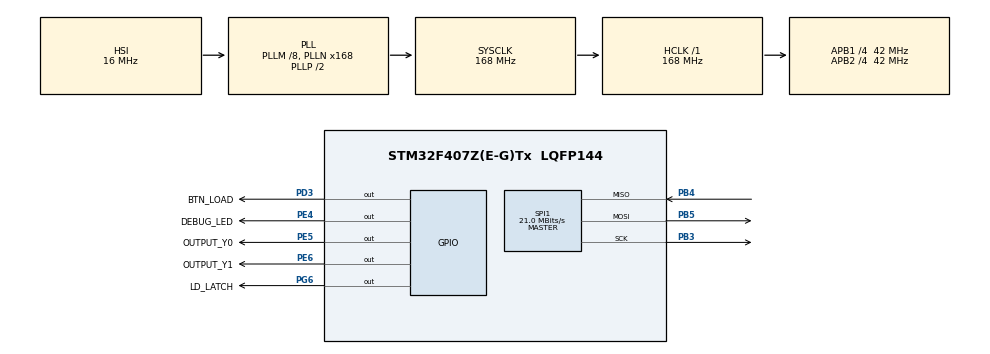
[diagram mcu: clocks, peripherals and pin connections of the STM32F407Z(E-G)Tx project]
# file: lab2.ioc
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Mcu.Family=STM32F4
Mcu.Name=STM32F407Z(E-G)Tx
Mcu.Package=LQFP144
NVIC.PriorityGroup=NVIC_PRIORITYGROUP_4
NVIC.TIM2_IRQn=true\:0\:0\:false\:false\:true\:true\:true
PA13.Mode=Serial_Wire
PA13.Signal=SYS_JTMS-SWDIO
PA14.Mode=Serial_Wire
PA14.Signal=SYS_JTCK-SWCLK
PB3.Mode=Full_Duplex_Master
PB3.Signal=SPI1_SCK
PB4.Mode=Full_Duplex_Master
PB4.Signal=SPI1_MISO
PB5.Mode=Full_Duplex_Master
PB5.Signal=SPI1_MOSI
PD3.GPIO_Label=BTN_LOAD
PD3.Signal=GPIO_Output
PE4.GPIO_Label=DEBUG_LED
PE4.Signal=GPIO_Output
PE5.GPIO_Label=OUTPUT_Y0
PE5.Signal=GPIO_Output
PE6.GPIO_Label=OUTPUT_Y1
PE6.Signal=GPIO_Output
PG6.GPIO_Label=LD_LATCH
PG6.Signal=GPIO_Output
PH0-OSC_IN.Mode=HSE-External-Oscillator
PH0-OSC_IN.Signal=RCC_OSC_IN
PH1-OSC_OUT.Mode=HSE-External-Oscillator
PH1-OSC_OUT.Signal=RCC_OSC_OUT
ProjectManager.HeapSize=0x200
ProjectManager.StackSize=0x400
ProjectManager.TargetToolchain=STM32CubeIDE
RCC.48MHZClocksFreq_Value=84000000
RCC.AHBFreq_Value=168000000
RCC.APB1CLKDivider=RCC_HCLK_DIV4
RCC.APB1Freq_Value=42000000
RCC.APB1TimFreq_Value=84000000
RCC.APB2CLKDivider=RCC_HCLK_DIV4
RCC.APB2Freq_Value=42000000
RCC.APB2TimFreq_Value=84000000
RCC.CortexFreq_Value=168000000
RCC.HCLKFreq_Value=168000000
RCC.HSE_VALUE=8000000
RCC.HSI_VALUE=16000000
RCC.LSE_VALUE=32768
RCC.PLLM=8
RCC.PLLN=168
RCC.SYSCLKFreq_VALUE=168000000
RCC.SYSCLKSource=RCC_SYSCLKSOURCE_PLLCLK
RCC.VCOOutputFreq_Value=336000000
SPI1.CalculateBaudRate=21.0 MBits/s
SPI1.Direction=SPI_DIRECTION_2LINES
SPI1.Mode=SPI_MODE_MASTER
SPI1.VirtualType=VM_MASTER
TIM2.Period=100-1
TIM2.Prescaler=840-1
VP_TIM2_VS_ClockSourceINT.Mode=Internal
board=custom

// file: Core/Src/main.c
/* USER CODE BEGIN Header */
/**
  ******************************************************************************
  * @file           : main.c
  * @brief          : Main program body
  ******************************************************************************
  * @attention
  *
  * <h2><center>&copy; Copyright (c) 2024 STMicroelectronics.
  * All rights reserved.</center></h2>
  *
  * This software component is licensed by ST under BSD 3-Clause license,
  * the "License"; You may not use this file except in compliance with the
  * License. You may obtain a copy of the License at:
  *                        opensource.org/licenses/BSD-3-Clause
  *
  ******************************************************************************
  */
/* USER CODE END Header */
#include "main.h"

/* USER CODE BEGIN Includes */
#include "software_timer.h"
/* USER CODE END Includes */

/* USER CODE BEGIN PD */
// #define exercise_1    100
// #define exercise_2    200
#define exercise_3    300

#define LED_ON        20
#define LED_OFF       30

#define RED           0
#define GREEN         1
#define YELLOW        2
#define RED_TIMER     5000
#define GREEN_TIMER   3000
#define YELLOW_TIMER  1000

#define _1_HZ         1
#define _25_HZ        11
#define _100_HZ       111
/* USER CODE END PD */

SPI_HandleTypeDef hspi1;

TIM_HandleTypeDef htim2;

void SystemClock_Config(void);
static void MX_GPIO_Init(void);
static void MX_SPI1_Init(void);
static void MX_TIM2_Init(void);

/* USER CODE BEGIN 0 */

void system_init() {
  HAL_GPIO_WritePin(LD_LATCH_GPIO_Port, LD_LATCH_Pin, GPIO_PIN_RESET);
  HAL_GPIO_WritePin(BTN_LOAD_GPIO_Port, BTN_LOAD_Pin, GPIO_PIN_RESET);

#ifdef exercise_1
  HAL_GPIO_WritePin(OUTPUT_Y0_GPIO_Port, OUTPUT_Y0_Pin, GPIO_PIN_RESET);
  HAL_GPIO_WritePin(OUTPUT_Y1_GPIO_Port, OUTPUT_Y1_Pin, GPIO_PIN_RESET);
  HAL_GPIO_WritePin(DEBUG_LED_GPIO_Port, DEBUG_LED_Pin, GPIO_PIN_RESET);
  setTimer0(50);
  setTimer1(50);
  setTimer2(50);
#endif

#ifdef exercise_2
  HAL_GPIO_WritePin(OUTPUT_Y0_GPIO_Port, OUTPUT_Y0_Pin, GPIO_PIN_RESET);
  HAL_GPIO_WritePin(OUTPUT_Y1_GPIO_Port, OUTPUT_Y1_Pin, GPIO_PIN_RESET);
  HAL_GPIO_WritePin(DEBUG_LED_GPIO_Port, DEBUG_LED_Pin, GPIO_PIN_SET);
  setTimer0(5000);
#endif

#ifdef exercise_3
  HAL_GPIO_WritePin(OUTPUT_Y0_GPIO_Port, OUTPUT_Y0_Pin, GPIO_PIN_RESET);
  HAL_GPIO_WritePin(OUTPUT_Y1_GPIO_Port, OUTPUT_Y1_Pin, GPIO_PIN_RESET);
  HAL_GPIO_WritePin(DEBUG_LED_GPIO_Port, DEBUG_LED_Pin, GPIO_PIN_RESET);
  setTimer0(50);
#endif
}

int LED_Y0_MODE = LED_OFF;
int LED_Y1_MODE = LED_OFF;

void ex1() {
  if (timer0_flag) {
     HAL_GPIO_TogglePin(DEBUG_LED_GPIO_Port, DEBUG_LED_Pin);
     setTimer0(2000);
  }

  if (timer1_flag) {
    if (LED_Y0_MODE == LED_ON) {
      HAL_GPIO_WritePin(OUTPUT_Y0_GPIO_Port, OUTPUT_Y0_Pin, GPIO_PIN_RESET);
      LED_Y0_MODE = LED_OFF;
      setTimer1(4000);
    } else if (LED_Y0_MODE == LED_OFF) {
      HAL_GPIO_WritePin(OUTPUT_Y0_GPIO_Port, OUTPUT_Y0_Pin, GPIO_PIN_SET);
      LED_Y0_MODE = LED_ON;
      setTimer1(2000);
    }
  }

  if (timer2_flag) {
    if (LED_Y1_MODE == LED_ON) {
      HAL_GPIO_WritePin(OUTPUT_Y1_GPIO_Port, OUTPUT_Y1_Pin, GPIO_PIN_RESET);
      LED_Y1_MODE = LED_OFF;
      setTimer2(1000);
    } else if (LED_Y1_MODE == LED_OFF) {
      HAL_GPIO_WritePin(OUTPUT_Y1_GPIO_Port, OUTPUT_Y1_Pin, GPIO_PIN_SET);
      LED_Y1_MODE = LED_ON;
      setTimer2(5000);
    }
  }
}

int traffic_mode = RED;

void ex2() {
  switch (traffic_mode) {
    case RED:
      HAL_GPIO_WritePin(OUTPUT_Y0_GPIO_Port, OUTPUT_Y0_Pin, GPIO_PIN_RESET);
      HAL_GPIO_WritePin(OUTPUT_Y1_GPIO_Port, OUTPUT_Y1_Pin, GPIO_PIN_RESET);
      HAL_GPIO_WritePin(DEBUG_LED_GPIO_Port, DEBUG_LED_Pin, GPIO_PIN_SET);

      if (timer0_flag) {
        traffic_mode = GREEN;
        setTimer0(GREEN_TIMER);
      }
      break;

    case GREEN:
      HAL_GPIO_WritePin(OUTPUT_Y0_GPIO_Port, OUTPUT_Y0_Pin, GPIO_PIN_SET);
      HAL_GPIO_WritePin(OUTPUT_Y1_GPIO_Port, OUTPUT_Y1_Pin, GPIO_PIN_RESET);
      HAL_GPIO_WritePin(DEBUG_LED_GPIO_Port, DEBUG_LED_Pin, GPIO_PIN_RESET);

      if (timer0_flag) {
        traffic_mode = YELLOW;
        setTimer0(YELLOW_TIMER);
      }
      break;

    case YELLOW:
      HAL_GPIO_WritePin(OUTPUT_Y0_GPIO_Port, OUTPUT_Y0_Pin, GPIO_PIN_RESET);
      HAL_GPIO_WritePin(OUTPUT_Y1_GPIO_Port, OUTPUT_Y1_Pin, GPIO_PIN_SET);
      HAL_GPIO_WritePin(DEBUG_LED_GPIO_Port, DEBUG_LED_Pin, GPIO_PIN_RESET);

      if (timer0_flag) {
        traffic_mode = RED;
        setTimer0(RED_TIMER);
      }
      break;
  }
}

void ex3() {
  int mode = _25_HZ;

  if (mode == _1_HZ) {
    if (timer0_flag) {
      HAL_GPIO_TogglePin(DEBUG_LED_GPIO_Port, DEBUG_LED_Pin);
      setTimer0(1000);
    }
  } else if (mode == _25_HZ) {
    if (timer0_flag) {
      HAL_GPIO_TogglePin(DEBUG_LED_GPIO_Port, DEBUG_LED_Pin);
      setTimer0(40);
    }
  } else if (mode == _100_HZ) {
    if (timer0_flag) {
      HAL_GPIO_TogglePin(DEBUG_LED_GPIO_Port, DEBUG_LED_Pin);
      setTimer0(10);
    }
  }
}
/* USER CODE END 0 */

int main(void)
{

  /* MCU Configuration--------------------------------------------------------*/

  /* Reset of all peripherals, Initializes the Flash interface and the Systick. */
  HAL_Init();

  /* Configure the system clock */
  SystemClock_Config();

  /* Initialize all configured peripherals */
  MX_GPIO_Init();
  MX_SPI1_Init();
  MX_TIM2_Init();
  /* USER CODE BEGIN 2 */
  HAL_TIM_Base_Start_IT(&htim2);

  /* USER CODE END 2 */

  /* Infinite loop */
  /* USER CODE BEGIN WHILE */
  system_init();
  while (1)
  {
    /* USER CODE END WHILE */

    /* USER CODE BEGIN 3 */
  #ifdef exercise_1
    ex1();
  #endif

  #ifdef exercise_2
    ex2();
  #endif

  #ifdef exercise_3
    ex3();
  #endif
  }
  /* USER CODE END 3 */
}

void SystemClock_Config(void)
{
  RCC_OscInitTypeDef RCC_OscInitStruct = {0};
  RCC_ClkInitTypeDef RCC_ClkInitStruct = {0};

  /** Configure the main internal regulator output voltage
  */
  __HAL_RCC_PWR_CLK_ENABLE();
  __HAL_PWR_VOLTAGESCALING_CONFIG(PWR_REGULATOR_VOLTAGE_SCALE1);
  /** Initializes the RCC Oscillators according to the specified parameters
  * in the RCC_OscInitTypeDef structure.
  */
  RCC_OscInitStruct.OscillatorType = RCC_OSCILLATORTYPE_HSI;
  RCC_OscInitStruct.HSIState = RCC_HSI_ON;
  RCC_OscInitStruct.HSICalibrationValue = RCC_HSICALIBRATION_DEFAULT;
  RCC_OscInitStruct.PLL.PLLState = RCC_PLL_ON;
  RCC_OscInitStruct.PLL.PLLSource = RCC_PLLSOURCE_HSI;
  RCC_OscInitStruct.PLL.PLLM = 8;
  RCC_OscInitStruct.PLL.PLLN = 168;
  RCC_OscInitStruct.PLL.PLLP = RCC_PLLP_DIV2;
  RCC_OscInitStruct.PLL.PLLQ = 4;
  if (HAL_RCC_OscConfig(&RCC_OscInitStruct) != HAL_OK)
  {
    Error_Handler();
  }
  /** Initializes the CPU, AHB and APB buses clocks
  */
  RCC_ClkInitStruct.ClockType = RCC_CLOCKTYPE_HCLK|RCC_CLOCKTYPE_SYSCLK
                              |RCC_CLOCKTYPE_PCLK1|RCC_CLOCKTYPE_PCLK2;
  RCC_ClkInitStruct.SYSCLKSource = RCC_SYSCLKSOURCE_PLLCLK;
  RCC_ClkInitStruct.AHBCLKDivider = RCC_SYSCLK_DIV1;
  RCC_ClkInitStruct.APB1CLKDivider = RCC_HCLK_DIV4;
  RCC_ClkInitStruct.APB2CLKDivider = RCC_HCLK_DIV4;

  if (HAL_RCC_ClockConfig(&RCC_ClkInitStruct, FLASH_LATENCY_5) != HAL_OK)
  {
    Error_Handler();
  }
}

static void MX_SPI1_Init(void)
{

  /* SPI1 parameter configuration*/
  hspi1.Instance = SPI1;
  hspi1.Init.Mode = SPI_MODE_MASTER;
  hspi1.Init.Direction = SPI_DIRECTION_2LINES;
  hspi1.Init.DataSize = SPI_DATASIZE_8BIT;
  hspi1.Init.CLKPolarity = SPI_POLARITY_LOW;
  hspi1.Init.CLKPhase = SPI_PHASE_1EDGE;
  hspi1.Init.NSS = SPI_NSS_SOFT;
  hspi1.Init.BaudRatePrescaler = SPI_BAUDRATEPRESCALER_2;
  hspi1.Init.FirstBit = SPI_FIRSTBIT_MSB;
  hspi1.Init.TIMode = SPI_TIMODE_DISABLE;
  hspi1.Init.CRCCalculation = SPI_CRCCALCULATION_DISABLE;
  hspi1.Init.CRCPolynomial = 10;
  if (HAL_SPI_Init(&hspi1) != HAL_OK)
  {
    Error_Handler();
  }

}

static void MX_TIM2_Init(void)
{

  TIM_ClockConfigTypeDef sClockSourceConfig = {0};
  TIM_MasterConfigTypeDef sMasterConfig = {0};

  htim2.Instance = TIM2;
  htim2.Init.Prescaler = 840-1;
  htim2.Init.CounterMode = TIM_COUNTERMODE_UP;
  htim2.Init.Period = 100-1;
  htim2.Init.ClockDivision = TIM_CLOCKDIVISION_DIV1;
  htim2.Init.AutoReloadPreload = TIM_AUTORELOAD_PRELOAD_DISABLE;
  if (HAL_TIM_Base_Init(&htim2) != HAL_OK)
  {
    Error_Handler();
  }
  sClockSourceConfig.ClockSource = TIM_CLOCKSOURCE_INTERNAL;
  if (HAL_TIM_ConfigClockSource(&htim2, &sClockSourceConfig) != HAL_OK)
  {
    Error_Handler();
  }
  sMasterConfig.MasterOutputTrigger = TIM_TRGO_RESET;
  sMasterConfig.MasterSlaveMode = TIM_MASTERSLAVEMODE_DISABLE;
  if (HAL_TIMEx_MasterConfigSynchronization(&htim2, &sMasterConfig) != HAL_OK)
  {
    Error_Handler();
  }

}

static void MX_GPIO_Init(void)
{
  GPIO_InitTypeDef GPIO_InitStruct = {0};

  /* GPIO Ports Clock Enable */
  __HAL_RCC_GPIOE_CLK_ENABLE();
  __HAL_RCC_GPIOH_CLK_ENABLE();
  __HAL_RCC_GPIOG_CLK_ENABLE();
  __HAL_RCC_GPIOA_CLK_ENABLE();
  __HAL_RCC_GPIOD_CLK_ENABLE();
  __HAL_RCC_GPIOB_CLK_ENABLE();

  /*Configure GPIO pin Output Level */
  HAL_GPIO_WritePin(GPIOE, DEBUG_LED_Pin|OUTPUT_Y0_Pin|OUTPUT_Y1_Pin, GPIO_PIN_SET);

  /*Configure GPIO pin Output Level */
  HAL_GPIO_WritePin(LD_LATCH_GPIO_Port, LD_LATCH_Pin, GPIO_PIN_SET);

  /*Configure GPIO pin Output Level */
  HAL_GPIO_WritePin(BTN_LOAD_GPIO_Port, BTN_LOAD_Pin, GPIO_PIN_SET);

  /*Configure GPIO pins : DEBUG_LED_Pin OUTPUT_Y0_Pin OUTPUT_Y1_Pin */
  GPIO_InitStruct.Pin = DEBUG_LED_Pin|OUTPUT_Y0_Pin|OUTPUT_Y1_Pin;
  GPIO_InitStruct.Mode = GPIO_MODE_OUTPUT_PP;
  GPIO_InitStruct.Pull = GPIO_NOPULL;
  GPIO_InitStruct.Speed = GPIO_SPEED_FREQ_LOW;
  HAL_GPIO_Init(GPIOE, &GPIO_InitStruct);

  /*Configure GPIO pin : LD_LATCH_Pin */
  GPIO_InitStruct.Pin = LD_LATCH_Pin;
  GPIO_InitStruct.Mode = GPIO_MODE_OUTPUT_PP;
  GPIO_InitStruct.Pull = GPIO_NOPULL;
  GPIO_InitStruct.Speed = GPIO_SPEED_FREQ_LOW;
  HAL_GPIO_Init(LD_LATCH_GPIO_Port, &GPIO_InitStruct);

  /*Configure GPIO pin : BTN_LOAD_Pin */
  GPIO_InitStruct.Pin = BTN_LOAD_Pin;
  GPIO_InitStruct.Mode = GPIO_MODE_OUTPUT_PP;
  GPIO_InitStruct.Pull = GPIO_NOPULL;
  GPIO_InitStruct.Speed = GPIO_SPEED_FREQ_LOW;
  HAL_GPIO_Init(BTN_LOAD_GPIO_Port, &GPIO_InitStruct);

}

/* USER CODE BEGIN 4 */
void HAL_TIM_PeriodElapsedCallback(TIM_HandleTypeDef *htim) {
  timerRun();
}

/* USER CODE END 4 */

void Error_Handler(void)
{
  __disable_irq();
  while (1)
  {
  }
}

/************************ (C) COPYRIGHT STMicroelectronics *****END OF FILE****/
